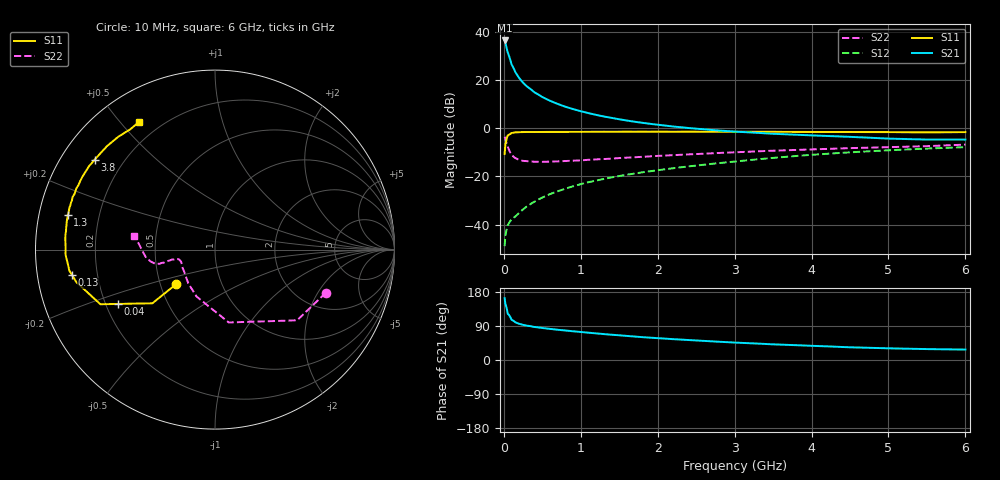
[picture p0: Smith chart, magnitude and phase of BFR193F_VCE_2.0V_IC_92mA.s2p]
! Infineon Technologies  Discrete & RF Semiconductors
! BFR193F
! VCE =  2.0 V,  IC =  92 mA
! Common Emitter S-Parameters:  Jan 2017
# GHz  S  MA  R  50
!  f  S11  S21  S12  S22
! GHz  MAG  ANG  MAG  ANG  MAG  ANG  MAG  ANG
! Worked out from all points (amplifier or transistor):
!   77 points, 10 MHz to 6 GHz, reference 50 ohm
!   highest |S21| = 36.3 dB at 10 MHz (marker M1)
!   |S21| within 3 dB of that: start of sweep to 35.44 MHz
!   unconditionally stable (mu >= 1): start of sweep to 10.97 MHz; 270.3 MHz to 3.245 GHz; 5.407 GHz to 5.551 GHz
!   at 130 MHz: K = 0.78, MSG = 30.8 dB, |S12| = -37.0 dB
!   at 2.2 GHz: K = 1.09, MAG = 6.8 dB, |S12| = -16.6 dB
!   at 6 GHz: K = 0.97, MSG = 1.6 dB, |S12| = -7.9 dB
!   S11 on the Smith chart (normalised r, x): 10 MHz: 0.60, -0.25; 40 MHz: 0.25, -0.25; 130 MHz: 0.11, -0.09; 1.3 GHz: 0.09, +0.11; 3.8 GHz: 0.10, +0.33; 6 GHz: 0.12, +0.56
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0.01  0.2913 -138.4  65.48 163.2  0.0036 75.8  0.6625 -21.3
0.02  0.46 -139.4  58.56 148.1  0.006 63.3  0.6038 -40.7
0.04  0.6209 -150.8  43.18 133.6  0.0085 53.8  0.4506 -63.1
0.05  0.7073 -154.5  37.14 122.3  0.0098 50.9  0.4132 -79.3
0.1  0.793 -166.7  21 106.1  0.0129 50.5  0.2809 -111.5
0.13  0.8084 -169.8  17.01 102.8  0.0141 52.8  0.2535 -121.0
0.15  0.82 -171.8  14.4 99.5  0.0149 54.1  0.2398 -128.4
0.2  0.8245 -174.8  10.89 95.5  0.0177 59.1  0.22 -138.0
0.25  0.8305 -177.0  8.738 92.7  0.0208 62.3  0.2102 -145.5
0.3  0.8331 -178.3  7.31 90.6  0.024 64.7  0.2075 -150.0
0.4  0.8323 179.1  5.491 87.1  0.0302 68.3  0.2018 -156.2
0.5  0.8343 177.3  4.41 84.5  0.0366 71.1  0.2007 -159.7
0.7  0.8374 174.1  3.172 79.8  0.0493 74.1  0.2053 -163.4
0.9  0.8383 171.5  2.481 75.8  0.0625 75.6  0.2123 -165.5
1.1  0.8407 169.2  2.047 72.0  0.076 76.2  0.2213 -165.9
1.3  0.8428 166.8  1.745 68.4  0.0887 76.1  0.2293 -166.6
2.1  0.8438 159.1  1.13 56.4  0.1413 75.1  0.2712 -166.3
3.1  0.8423 150.1  0.833 45.1  0.2109 71.8  0.3212 -165.8
3.8  0.8368 143.3  0.731 39.1  0.2652 68.1  0.3541 -168.2
4.1  0.8341 140.2  0.699 36.7  0.2876 66.2  0.3672 -170.0
5.1  0.8259 129.6  0.602 30.4  0.3538 58.7  0.4082 -180.0
6  0.828 120.6  0.58 27.5  0.4043 52.2  0.4565 170.1
